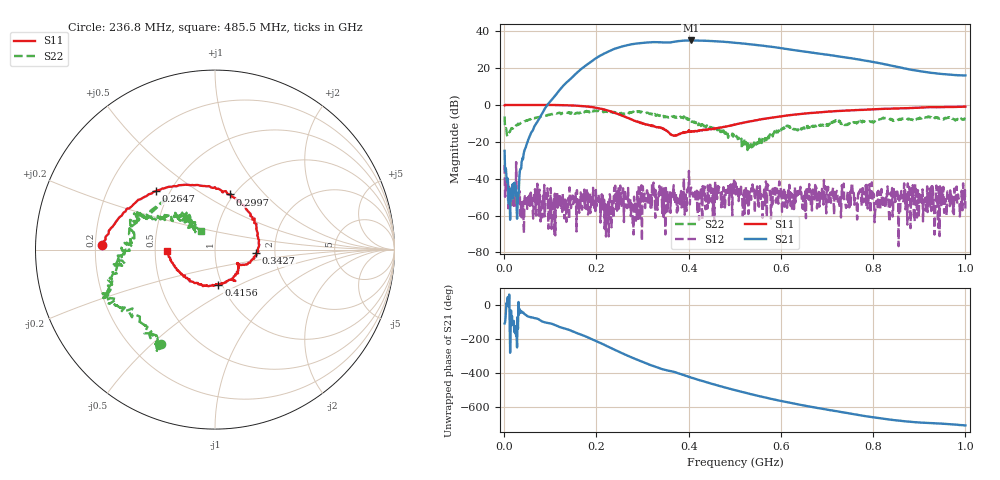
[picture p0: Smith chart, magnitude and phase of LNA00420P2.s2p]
! Created with skrf 1.9.0 (http://scikit-rf.org).
# Hz S RI R 50.0
!freq ReS11 ImS11 ReS21 ImS21 ReS12 ImS12 ReS22 ImS22
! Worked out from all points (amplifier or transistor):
!   1001 points, 1 MHz to 1 GHz, reference 50 ohm
!   highest |S21| = 35.0 dB at 404.6 MHz (marker M1)
!   |S21| within 3 dB of that: 260 MHz to 565.6 MHz (305.6 MHz wide, 74 % of centre)
!   unconditionally stable (mu >= 1): 241 MHz to 323.6 MHz; 323.8 MHz to 389.5 MHz; 401.3 MHz to end of sweep (the widest 3 of 42)
!   at 166.8 MHz: K = 0.86, MSG = 34.5 dB, |S12| = -49.6 dB
!   at 500.5 MHz: K = 1.50, MAG = 34.5 dB, |S12| = -43.6 dB
!   at 1 GHz: K = 8.28, MAG = 23.9 dB, |S12| = -56.2 dB
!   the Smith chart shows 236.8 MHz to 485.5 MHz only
!   S11 on the Smith chart (normalised r, x): 236.8 MHz: 0.23, +0.02; 264.7 MHz: 0.42, +0.35; 299.7 MHz: 0.96, +0.66; 342.7 MHz: 1.59, -0.07; 415.6 MHz: 0.96, -0.39; 485.5 MHz: 0.58, -0.01
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1000000  0.9779 -0.000582  -0.0191 -0.0538  -0.0232 -0.00451  0.354 0.3372
1.08892e8  0.5311 -0.8412  -0.7808 -1.498  0.000134 0.000255  0.4292 -0.3862
1.67833e8  -0.2088 -0.9107  -9.645 -0.698  0.00185 0.000173  0.0389 -0.6397
2.07793e8  -0.6514 -0.4517  -15.89 14.67  0.00189 -0.0017  -0.2015 -0.654
2.36764e8  -0.6309 0.0272  -5.798 31.85  0.000578 0.00061  -0.301 -0.5281
2.64736e8  -0.3297 0.3264  16.83 37.67  -0.0016 -0.000591  -0.4578 -0.3601
2.99701e8  0.082 0.307  43.71 21.15  -0.0015 0.00168  -0.5929 -0.2205
3.18682e8  0.208 0.1812  50.15 5.591  -0.00296 0.00211  -0.572 -0.1254
3.34666e8  0.2432 0.0376  49.85 -8.432  0.00228 0.00343  -0.5165 -0.0523
3.42658e8  0.2294 -0.0205  47.94 -14.37  -0.000867 0.000772  -0.5018 -0.00732
3.77623e8  0.1308 -0.0891  40.97 -35.23  0.000778 0.00202  -0.4514 0.2005
4.04596e8  0.0646 -0.1766  23.33 -51.23  0.00479 0.00275  -0.3196 0.1578
4.15585e8  0.0195 -0.1965  15.07 -54.02  0.000985 0.00305  -0.2582 0.19
4.49551e8  -0.1473 -0.1674  -11.19 -52.96  0.000679 0.00223  -0.1443 0.1738
4.85515e8  -0.2661 -0.00926  -31.74 -39.5  0.00667 -0.00151  -0.0757 0.1038
5.005e8  -0.2878 0.0678  -37.38 -31.8  0.00335 0.0057  -0.1033 0.1067
5.4046e8  -0.242 0.2843  -42.13 -10.09  0.0043 -0.00229  -0.0808 0.00496
5.88412e8  -0.0644 0.4622  -35.02 10.34  0.000758 0.00244  -0.1514 -0.0585
6.67333e8  0.3052 0.5241  -13.78 22.23  -0.00105 0.000866  -0.2591 -0.00462
7.55245e8  0.6175 0.3666  2.8 17.97  -0.000311 -0.00527  -0.3074 0.0828
8.34166e8  0.777 0.1508  7.954 9.096  -0.000805 -0.000871  -0.4096 0.1376
1e9  0.8144 -0.3854  6.139 1.506  -0.00149 -0.000405  -0.1149 0.3866
